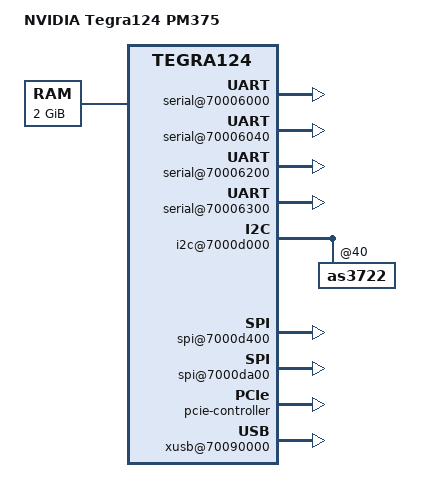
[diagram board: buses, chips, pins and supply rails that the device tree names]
/dts-v1/;

#include "tegra124.dtsi"
#include "tegra124-platforms/tegra124-tn8-keys-e1780-1100-a02.dtsi"
#include "tegra124-platforms/tegra124-jetson_tk1-gpio-pm375-0000-c00-00.dtsi"
#include "tegra124-platforms/tegra124-jetson_tk1-pinmux-pm375-0000-c00-00.dtsi"
#include "tegra124-platforms/tegra124-jetson-power-tree-pm375-0000-c00.dtsi"

/ {
	model = "NVIDIA Tegra124 PM375";
	compatible = "nvidia,jetson-tk1", "nvidia,tegra124";
	nvidia,dtsfilename = __FILE__;
	#address-cells = <2>;
	#size-cells = <2>;

	chosen {
		bootargs = "tegraid=40.0.0.00.00 vmalloc=256M video=tegrafb console=ttyS0,115200n8 earlyprintk";
	};

	pinmux@70000868 {
		pinctrl-names = "default", "drive", "unused", "suspend";
		pinctrl-3 = <&pinmux_suspend>;

		/* Change the pin dap_mclk1_req to required configurations */
		unused_lowpower {
			dap_mclk1_req_pee2 {
			nvidia,pins = "dap_mclk1_req_pee2";
			nvidia,function = "sata";
			nvidia,enable-input = <TEGRA_PIN_DISABLE>;
			nvidia,pull = <TEGRA_PIN_PULL_NONE>;
			nvidia,tristate = <TEGRA_PIN_DISABLE>;
			};
		};

		/* On suspend, make dap_mclk1_req to pull up */
		pinmux_suspend: pins_on_suspend {
		dap_mclk1_req_pee2 {
			nvidia,pins = "dap_mclk1_req_pee2";
			nvidia,pull = <TEGRA_PIN_PULL_UP>;
			};
		};
	};

        serial@70006000 {
                compatible = "nvidia,tegra114-hsuart";
                status = "okay";
        };

        serial@70006040 {
                compatible = "nvidia,tegra114-hsuart";
                status = "okay";
        };

        serial@70006200 {
                compatible = "nvidia,tegra114-hsuart";
                status = "okay";
        };

	serial@70006300 {
		compatible = "nvidia,tegra20-uart", "nvidia,tegra114-hsuart";
		console-port;
		sqa-automation-port;
		status = "okay";
	};

	i2c@7000d000 {
		nvidia,bit-banging-xfer-after-shutdown;

		as3722@40 {
			adc_extcon {
				ams,extcon-name = "as3722-extcon";
			};
		};
	};

	memory@0x80000000 {
		device_type = "memory";
		reg = <0x0 0x80000000 0x0 0x80000000>;
	};

	spi@7000d400 {
		status = "okay";
		spi-max-frequency = <25000000>;
	};

	spi@7000da00 {
		status = "okay";
		spi-max-frequency = <25000000>;
	};

	pmc@7000e400 {
		status = "okay";
		nvidia,invert-interrupt;
		nvidia,suspend-mode = <0>;
		nvidia,cpu-pwr-good-time = <500>;
		nvidia,cpu-pwr-off-time = <300>;
		nvidia,core-pwr-good-time = <3845 3845>;
		nvidia,core-pwr-off-time = <2000>;
		nvidia,core-power-req-active-high;
		nvidia,sys-clock-req-active-high;
		nvidia,lp0-vec = <0xf46ff000 2064>;
	};

	pcie-controller {
		hvdd-pex-supply = <&reg_3v3_supply>;
		hvdd-pex-pll-e-supply = <&reg_3v3_supply>;
		dvddio-pex-supply = <&as3722_sd4>;
		avddio-pex-supply = <&as3722_sd4>;
		avdd-pex-pll-supply = <&as3722_sd4>;
		vddio-pex-ctl-supply = <&as3722_sd4>;
		status = "okay";
		pci@1,0 {
			status = "okay";
		};

		pci@2,0 {
			status = "okay";
		};
	};

	xusb@70090000 {
		/* nvidia,uses_external_pmic;
		nvidia,gpio_controls_muxed_ss_lanes; */
		nvidia,gpio_ss1_sata = <0>;
		nvidia,portmap = <0x701>; /* SSP0, USB2P0, USBP2 */
		nvidia,ss_portmap = <0x72>; /* SSP0 on USB2P2 */
		nvidia,lane_owner = <4>; /* USB3P0 USB3P1 */
		nvidia,ulpicap = <0>; /* No ulpi support. can we remove */
		status = "okay";
	};
};
